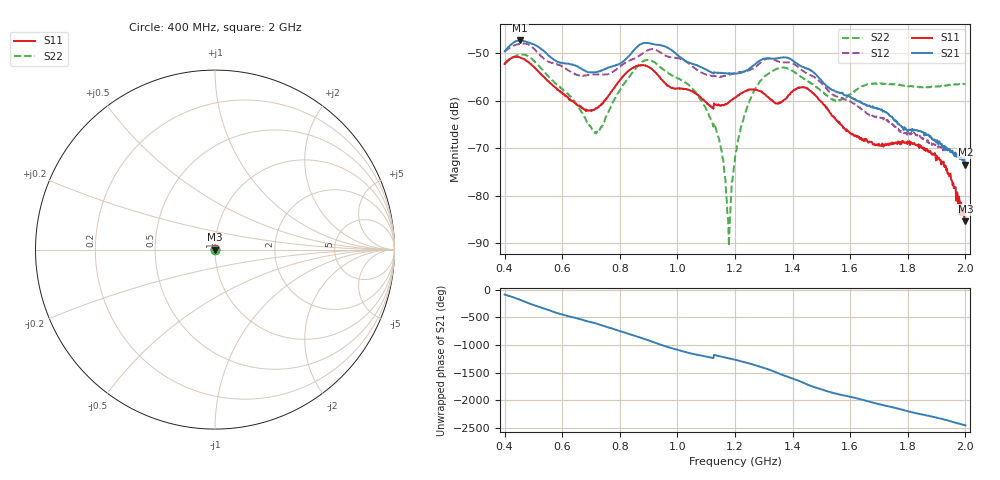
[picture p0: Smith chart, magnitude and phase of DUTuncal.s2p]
! PocketVna 1.60  pocketvna.com
! Live measurements ((Reflection-S11, Transmission-S21, Transmission-S12, Reflection-S22) Linear 400000000-2000000000/800 non-calibrated)
# Hz S RI R 50
! Hz  ReS11  ImS11  ReS21  ImS21  ReS12  ImS12  ReS22  ImS22
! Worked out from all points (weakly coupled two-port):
!   800 points, 400 MHz to 2 GHz, reference 50 ohm
!   highest |S21| = -47.35 dB at 454.1 MHz (marker M1); lowest = -73.5 dB at 2 GHz (marker M2)
!   lowest |S11| = -85.4 dB at 2 GHz (marker M3), VSWR 1.00, Z = 50 - j0.00279 ohm
!   |S11| at or under -10 dB: start of sweep to end of sweep
!   |S22| runs from -90.6 to -50.3 dB; largest |S21 - S12| = 0.0056
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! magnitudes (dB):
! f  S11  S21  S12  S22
! 400 MHz  -52.3  -49.6  -49.7  -52.4
! 454.1 MHz  -50.9  -47.3  -48.1  -50.3
! 668.3 MHz  -61.6  -53.4  -54.9  -62.5
! 722.4 MHz  -61.4  -54.0  -54.5  -66.7
! 862.6 MHz  -52.7  -48.6  -50.7  -52.7
! 934.7 MHz  -54.8  -48.3  -49.7  -52.6
! 1.093 GHz  -60.0  -53.3  -54.4  -61.0
! 1.143 GHz  -60.8  -54.1  -55.0  -67.7
! 1.177 GHz  -60.4  -54.3  -54.6  -86.6
! 1.187 GHz  -59.9  -54.3  -54.4  -80.1
! 1.201 GHz  -59.4  -54.3  -54.3  -71.4
! 1.243 GHz  -57.8  -53.6  -53.7  -61.3
! 1.301 GHz  -58.5  -51.2  -51.4  -55.0
! 1.373 GHz  -59.8  -50.9  -51.9  -53.1
! 1.423 GHz  -57.3  -52.5  -53.1  -54.7
! 1.467 GHz  -58.2  -53.8  -54.8  -56.5
! 1.555 GHz  -64.3  -58.2  -59.2  -60.1
! 1.734 GHz  -69.4  -62.8  -64.6  -56.4
! 1.886 GHz  -71.1  -68.0  -69.2  -57.2
! 1.928 GHz  -74.0  -69.6  -70.2  -56.9
! 1.976 GHz  -81.7  -71.7  -71.7  -56.6
! 2 GHz  -85.4  -73.5  -73.0  -56.5
